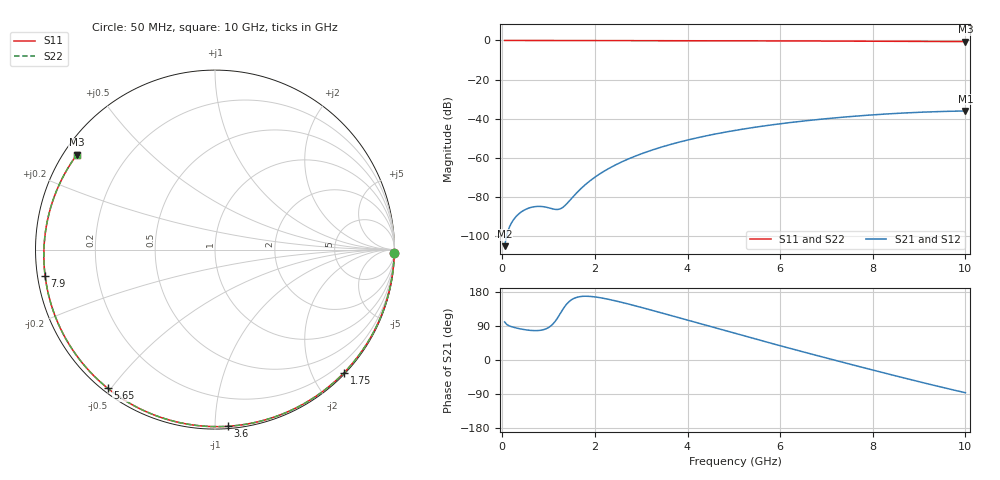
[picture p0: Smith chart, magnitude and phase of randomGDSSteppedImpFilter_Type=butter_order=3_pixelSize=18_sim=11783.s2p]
! freq	dB(S11)	phase(S11)	dB(S12)	phase(S12)
!  dB(S21)	phase(S21)	dB(S22)	phase(S22)
!S-par simulation data
#  GHz  S  DB  R 50
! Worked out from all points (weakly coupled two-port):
!   200 points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, 50 MHz to 10 GHz, reference 50 ohm
!   highest |S21| = -36.10 dB at 10 GHz (marker M1); lowest = -105.3 dB at 50 MHz (marker M2)
!   lowest |S11| = -0.6 dB at 10 GHz (marker M3), VSWR 29.23, Z = 1.87 + j15.5 ohm
!   |S11| at or under -10 dB: nowhere
!   |S22| runs from -0.6 to 0.0 dB; largest |S21 - S12| = 0
!   S11 on the Smith chart (normalised r, x): 50 MHz: 2, -93; 1.75 GHz: 0.02, -2.50; 3.6 GHz: 0.01, -1.08; 5.65 GHz: 0.01, -0.49; 7.9 GHz: 0.02, -0.08; 10 GHz: 0.04, +0.31
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0.05  -0.00 -1.2  -105.34 100.5  -105.34 100.5  -0.00 -1.2
0.4  -0.02 -10.1  -87.98 81.8  -87.98 81.8  -0.02 -10.1
0.75  -0.02 -19.0  -85.00 77.6  -85.00 77.6  -0.02 -19.0
1.1  -0.03 -27.7  -86.31 95.9  -86.31 95.9  -0.03 -27.7
1.5  -0.05 -37.5  -80.78 159.4  -80.78 159.4  -0.05 -37.5
1.55  -0.05 -38.7  -79.47 162.7  -79.47 162.7  -0.05 -38.7
1.75  -0.05 -43.6  -74.73 168.1  -74.73 168.1  -0.05 -43.6
2.05  -0.06 -50.7  -69.19 165.6  -69.19 165.6  -0.06 -50.7
2.45  -0.08 -60.1  -63.68 155.9  -63.68 155.9  -0.08 -60.1
2.9  -0.09 -70.4  -58.97 142.1  -58.97 142.1  -0.09 -70.4
3.4  -0.11 -81.5  -54.87 125.6  -54.87 125.6  -0.11 -81.5
3.6  -0.11 -85.8  -53.48 118.8  -53.48 118.8  -0.11 -85.8
4.3  -0.14 -100.7  -49.37 94.9  -49.37 94.9  -0.14 -100.7
5.05  -0.17 -115.9  -45.97 69.4  -45.97 69.4  -0.17 -115.9
5.65  -0.21 -127.8  -43.78 49.3  -43.78 49.3  -0.21 -127.8
6.2  -0.24 -138.4  -42.09 31.1  -42.09 31.1  -0.24 -138.4
6.7  -0.27 -148.1  -40.76 14.8  -40.76 14.8  -0.27 -148.0
7.3  -0.32 -159.6  -39.40 -4.4  -39.40 -4.4  -0.32 -159.6
7.9  -0.37 -171.2  -38.27 -23.4  -38.27 -23.4  -0.37 -171.2
8.35  -0.42 179.9  -37.57 -37.4  -37.57 -37.4  -0.42 180.0
9.2  -0.51 162.7  -36.60 -63.3  -36.60 -63.3  -0.51 162.7
10  -0.59 145.5  -36.10 -86.4  -36.10 -86.4  -0.59 145.5
